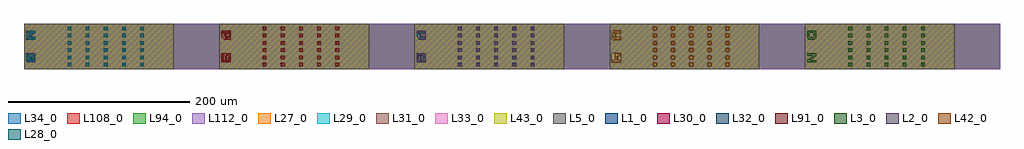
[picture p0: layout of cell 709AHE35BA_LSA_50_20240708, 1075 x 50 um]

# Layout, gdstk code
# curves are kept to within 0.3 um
from math import pi, radians
import gdstk
lib = gdstk.Library(unit=1e-6, precision=1e-09)
def R(c, l, rs):  # rectangles x0, y0, x1, y1
    for r in rs: c.add(gdstk.rectangle(r[:2], r[2:], *l))
def A(c, l, x, y, w, h, nx, ny, dx, dy):  # array of equal rectangles
    R(c, l, [(x+i*dx, y+j*dy, x+i*dx+w, y+j*dy+h) for i in range(nx) for j in range(ny)])
def P(c, l, *ps):  # polygons
    for p in ps: c.add(gdstk.Polygon(p, *l))
L1_0 = (1, 0)
L2_0 = (2, 0)
L3_0 = (3, 0)
L5_0 = (5, 0)
L27_0 = (27, 0)
L28_0 = (28, 0)
L29_0 = (29, 0)
L30_0 = (30, 0)
L31_0 = (31, 0)
L32_0 = (32, 0)
L33_0 = (33, 0)
L34_0 = (34, 0)
L42_0 = (42, 0)
L43_0 = (43, 0)
L91_0 = (91, 0)
L94_0 = (94, 0)
L108_0 = (108, 0)
L112_0 = (112, 0)

lsa_150_50_4_0_4_0_5_6_t = lib.new_cell('LSA_150_50_4_0_4_0_5_6_T_1_T')
A(lsa_150_50_4_0_4_0_5_6_t, L1_0, 48, 3, 4, 4, 5, 6, 20, 8)
R(lsa_150_50_4_0_4_0_5_6_t, L5_0, [(15,0,165,50)])
R(lsa_150_50_4_0_4_0_5_6_t, L27_0, [(15,0,165,50)])
R(lsa_150_50_4_0_4_0_5_6_t, L29_0, [(15,0,165,50)])
R(lsa_150_50_4_0_4_0_5_6_t, L31_0, [(15,0,165,50)])
R(lsa_150_50_4_0_4_0_5_6_t, L33_0, [(15,0,165,50)])
R(lsa_150_50_4_0_4_0_5_6_t, L34_0, [(15,0,215,50)])
R(lsa_150_50_4_0_4_0_5_6_t, L43_0, [(15,0,165,50)])
R(lsa_150_50_4_0_4_0_5_6_t, L94_0, [(15,0,215,50)])
R(lsa_150_50_4_0_4_0_5_6_t, L108_0, [(15,0,215,50)])
R(lsa_150_50_4_0_4_0_5_6_t, L112_0, [(15,0,215,50)])

c_lsa_150_50_4_0_4_0_5_6_t = lib.new_cell('LSA_150_50_4_0_4_0_5_6_T_1_name')
P(c_lsa_150_50_4_0_4_0_5_6_t, L1_0, [(10,8.5),(15,2.5),(17.5,2.5),(17.5,12.5),(15,12.5),(15,6.5),(10,12.5),(7.5,12.5),(7.5,2.5),(10,2.5)],
  [(41.5,2.5),(42.5,3.5),(42.5,6.5),(41.5,7.5),(42.5,8.5),(42.5,11.5),(41.5,12.5),(32.5,12.5),(32.5,8.5),(35,8.5),(35,10.5),(40,10.5),(40,8.5),(32.5,8.5),(32.5,4.5),(35,4.5),(35,6.5),(40,6.5),(40,4.5),(32.5,4.5),(32.5,2.5)])
R(c_lsa_150_50_4_0_4_0_5_6_t, L5_0, [(0,0,50,15)])
R(c_lsa_150_50_4_0_4_0_5_6_t, L27_0, [(0,0,50,15)])
R(c_lsa_150_50_4_0_4_0_5_6_t, L29_0, [(0,0,50,15)])
R(c_lsa_150_50_4_0_4_0_5_6_t, L31_0, [(0,0,50,15)])
R(c_lsa_150_50_4_0_4_0_5_6_t, L33_0, [(0,0,50,15)])
R(c_lsa_150_50_4_0_4_0_5_6_t, L34_0, [(0,0,50,15)])
R(c_lsa_150_50_4_0_4_0_5_6_t, L43_0, [(0,0,50,15)])
R(c_lsa_150_50_4_0_4_0_5_6_t, L94_0, [(0,0,50,15)])
R(c_lsa_150_50_4_0_4_0_5_6_t, L108_0, [(0,0,50,15)])
R(c_lsa_150_50_4_0_4_0_5_6_t, L112_0, [(0,0,50,15)])

c_lsa_150_50_4_0_4_0_5_6_t_ = lib.new_cell('LSA_150_50_4_0_4_0_5_6_T_28_T')
R(c_lsa_150_50_4_0_4_0_5_6_t_, L5_0, [(15,0,165,50)])
R(c_lsa_150_50_4_0_4_0_5_6_t_, L27_0, [(15,0,165,50)])
A(c_lsa_150_50_4_0_4_0_5_6_t_, L28_0, 48, 3, 4, 4, 5, 6, 20, 8)
R(c_lsa_150_50_4_0_4_0_5_6_t_, L29_0, [(15,0,165,50)])
R(c_lsa_150_50_4_0_4_0_5_6_t_, L31_0, [(15,0,165,50)])
R(c_lsa_150_50_4_0_4_0_5_6_t_, L33_0, [(15,0,165,50)])
R(c_lsa_150_50_4_0_4_0_5_6_t_, L34_0, [(15,0,215,50)])
R(c_lsa_150_50_4_0_4_0_5_6_t_, L43_0, [(15,0,165,50)])
R(c_lsa_150_50_4_0_4_0_5_6_t_, L94_0, [(15,0,215,50)])
R(c_lsa_150_50_4_0_4_0_5_6_t_, L108_0, [(15,0,215,50)])
R(c_lsa_150_50_4_0_4_0_5_6_t_, L112_0, [(15,0,215,50)])

c_lsa_150_50_4_0_4_0_5_6_t__ = lib.new_cell('LSA_150_50_4_0_4_0_5_6_T_28_name')
R(c_lsa_150_50_4_0_4_0_5_6_t__, L5_0, [(0,0,50,15)])
R(c_lsa_150_50_4_0_4_0_5_6_t__, L27_0, [(0,0,50,15)])
P(c_lsa_150_50_4_0_4_0_5_6_t__, L28_0, [(17.5,5.5),(17.5,12.5),(14.5,12.5),(14.5,6.5),(10.5,6.5),(10.5,12.5),(7.5,12.5),(7.5,5.5),(11.5,2.5),(13.5,2.5)],
  [(41.5,5),(39.5,5),(39.5,12.5),(36.5,12.5),(36.5,11.5),(34.5,11.5),(34.5,9.5),(36.5,9.5),(36.5,5),(33.5,5),(33.5,2.5),(41.5,2.5)])
R(c_lsa_150_50_4_0_4_0_5_6_t__, L29_0, [(0,0,50,15)])
R(c_lsa_150_50_4_0_4_0_5_6_t__, L31_0, [(0,0,50,15)])
R(c_lsa_150_50_4_0_4_0_5_6_t__, L33_0, [(0,0,50,15)])
R(c_lsa_150_50_4_0_4_0_5_6_t__, L34_0, [(0,0,50,15)])
R(c_lsa_150_50_4_0_4_0_5_6_t__, L43_0, [(0,0,50,15)])
R(c_lsa_150_50_4_0_4_0_5_6_t__, L94_0, [(0,0,50,15)])
R(c_lsa_150_50_4_0_4_0_5_6_t__, L108_0, [(0,0,50,15)])
R(c_lsa_150_50_4_0_4_0_5_6_t__, L112_0, [(0,0,50,15)])

c_lsa_150_50_4_0_4_0_5_6_t___ = lib.new_cell('LSA_150_50_4_0_4_0_5_6_T_91_T')
R(c_lsa_150_50_4_0_4_0_5_6_t___, L5_0, [(15,0,165,50)])
R(c_lsa_150_50_4_0_4_0_5_6_t___, L29_0, [(15,0,165,50)])
R(c_lsa_150_50_4_0_4_0_5_6_t___, L31_0, [(15,0,165,50)])
R(c_lsa_150_50_4_0_4_0_5_6_t___, L34_0, [(15,0,215,50)])
R(c_lsa_150_50_4_0_4_0_5_6_t___, L43_0, [(15,0,165,50)])
A(c_lsa_150_50_4_0_4_0_5_6_t___, L91_0, 48, 3, 4, 4, 5, 6, 20, 8)
R(c_lsa_150_50_4_0_4_0_5_6_t___, L94_0, [(15,0,215,50)])
R(c_lsa_150_50_4_0_4_0_5_6_t___, L108_0, [(15,0,215,50)])
R(c_lsa_150_50_4_0_4_0_5_6_t___, L112_0, [(15,0,215,50)])

c_lsa_150_50_4_0_4_0_5_6_t____ = lib.new_cell('LSA_150_50_4_0_4_0_5_6_T_91_name')
R(c_lsa_150_50_4_0_4_0_5_6_t____, L5_0, [(0,0,50,15)])
R(c_lsa_150_50_4_0_4_0_5_6_t____, L29_0, [(0,0,50,15)])
R(c_lsa_150_50_4_0_4_0_5_6_t____, L31_0, [(0,0,50,15)])
R(c_lsa_150_50_4_0_4_0_5_6_t____, L34_0, [(0,0,50,15)])
R(c_lsa_150_50_4_0_4_0_5_6_t____, L43_0, [(0,0,50,15)])
P(c_lsa_150_50_4_0_4_0_5_6_t____, L91_0, [(10.5,2.5),(10.5,6.5),(17.5,6.5),(17.5,12.5),(7.5,12.5),(7.5,9),(10.5,9),(10.5,10),(15,10),(15,9),(10.5,9),(7.5,9),(7.5,2.5)],
  [(41.5,2.5),(42.5,3.5),(42.5,6.5),(41.5,7.5),(42.5,8.5),(42.5,11.5),(41.5,12.5),(32.5,12.5),(32.5,8.5),(35,8.5),(35,10.5),(40,10.5),(40,8.5),(32.5,8.5),(32.5,4.5),(35,4.5),(35,6.5),(40,6.5),(40,4.5),(32.5,4.5),(32.5,2.5)])
R(c_lsa_150_50_4_0_4_0_5_6_t____, L94_0, [(0,0,50,15)])
R(c_lsa_150_50_4_0_4_0_5_6_t____, L108_0, [(0,0,50,15)])
R(c_lsa_150_50_4_0_4_0_5_6_t____, L112_0, [(0,0,50,15)])

c_lsa_150_50_4_0_4_0_5_6_t_____ = lib.new_cell('LSA_150_50_4_0_4_0_5_6_T_30_T')
R(c_lsa_150_50_4_0_4_0_5_6_t_____, L5_0, [(15,0,165,50)])
R(c_lsa_150_50_4_0_4_0_5_6_t_____, L27_0, [(15,0,165,50)])
R(c_lsa_150_50_4_0_4_0_5_6_t_____, L29_0, [(15,0,165,50)])
A(c_lsa_150_50_4_0_4_0_5_6_t_____, L30_0, 48, 3, 4, 4, 5, 6, 20, 8)
R(c_lsa_150_50_4_0_4_0_5_6_t_____, L31_0, [(15,0,165,50)])
R(c_lsa_150_50_4_0_4_0_5_6_t_____, L33_0, [(15,0,165,50)])
R(c_lsa_150_50_4_0_4_0_5_6_t_____, L34_0, [(15,0,215,50)])
R(c_lsa_150_50_4_0_4_0_5_6_t_____, L43_0, [(15,0,165,50)])
R(c_lsa_150_50_4_0_4_0_5_6_t_____, L94_0, [(15,0,215,50)])
R(c_lsa_150_50_4_0_4_0_5_6_t_____, L108_0, [(15,0,215,50)])
R(c_lsa_150_50_4_0_4_0_5_6_t_____, L112_0, [(15,0,215,50)])

c_lsa_150_50_4_0_4_0_5_6_t______ = lib.new_cell('LSA_150_50_4_0_4_0_5_6_T_30_name')
R(c_lsa_150_50_4_0_4_0_5_6_t______, L5_0, [(0,0,50,15)])
R(c_lsa_150_50_4_0_4_0_5_6_t______, L27_0, [(0,0,50,15)])
R(c_lsa_150_50_4_0_4_0_5_6_t______, L29_0, [(0,0,50,15)])
P(c_lsa_150_50_4_0_4_0_5_6_t______, L30_0, [(17.5,5.5),(17.5,12.5),(14.5,12.5),(14.5,6.5),(10.5,6.5),(10.5,12.5),(7.5,12.5),(7.5,5.5),(11.5,2.5),(13.5,2.5)],
  [(42.5,5),(35.5,5),(35.5,6.3),(42.5,6.3),(42.5,12.5),(32.5,12.5),(32.5,10),(39.5,10),(39.5,8.8),(32.5,8.8),(32.5,2.5),(42.5,2.5)])
R(c_lsa_150_50_4_0_4_0_5_6_t______, L31_0, [(0,0,50,15)])
R(c_lsa_150_50_4_0_4_0_5_6_t______, L33_0, [(0,0,50,15)])
R(c_lsa_150_50_4_0_4_0_5_6_t______, L34_0, [(0,0,50,15)])
R(c_lsa_150_50_4_0_4_0_5_6_t______, L43_0, [(0,0,50,15)])
R(c_lsa_150_50_4_0_4_0_5_6_t______, L94_0, [(0,0,50,15)])
R(c_lsa_150_50_4_0_4_0_5_6_t______, L108_0, [(0,0,50,15)])
R(c_lsa_150_50_4_0_4_0_5_6_t______, L112_0, [(0,0,50,15)])

c_lsa_150_50_4_0_4_0_5_6_t_______ = lib.new_cell('LSA_150_50_4_0_4_0_5_6_T_2_T')
A(c_lsa_150_50_4_0_4_0_5_6_t_______, L2_0, 48, 3, 4, 4, 5, 6, 20, 8)
R(c_lsa_150_50_4_0_4_0_5_6_t_______, L5_0, [(15,0,165,50)])
R(c_lsa_150_50_4_0_4_0_5_6_t_______, L27_0, [(15,0,165,50)])
R(c_lsa_150_50_4_0_4_0_5_6_t_______, L31_0, [(15,0,165,50)])
R(c_lsa_150_50_4_0_4_0_5_6_t_______, L33_0, [(15,0,165,50)])
R(c_lsa_150_50_4_0_4_0_5_6_t_______, L34_0, [(15,0,215,50)])
R(c_lsa_150_50_4_0_4_0_5_6_t_______, L94_0, [(15,0,215,50)])
R(c_lsa_150_50_4_0_4_0_5_6_t_______, L108_0, [(15,0,215,50)])
R(c_lsa_150_50_4_0_4_0_5_6_t_______, L112_0, [(15,0,215,50)])

c_lsa_150_50_4_0_4_0_5_6_t________ = lib.new_cell('LSA_150_50_4_0_4_0_5_6_T_2_name')
P(c_lsa_150_50_4_0_4_0_5_6_t________, L2_0, [(10.5,2.5),(10.5,6.5),(17.5,6.5),(17.5,12.5),(7.5,12.5),(7.5,9),(10.5,9),(10.5,10),(15,10),(15,9),(10.5,9),(7.5,9),(7.5,2.5)],
  [(40.5,2.5),(42.5,4.5),(42.5,10.5),(40.5,12.5),(32.5,12.5),(32.5,5),(35,5),(35,10),(39,10),(40,9),(40,6),(39,5),(32.5,5),(32.5,2.5)])
R(c_lsa_150_50_4_0_4_0_5_6_t________, L5_0, [(0,0,50,15)])
R(c_lsa_150_50_4_0_4_0_5_6_t________, L27_0, [(0,0,50,15)])
R(c_lsa_150_50_4_0_4_0_5_6_t________, L31_0, [(0,0,50,15)])
R(c_lsa_150_50_4_0_4_0_5_6_t________, L33_0, [(0,0,50,15)])
R(c_lsa_150_50_4_0_4_0_5_6_t________, L34_0, [(0,0,50,15)])
R(c_lsa_150_50_4_0_4_0_5_6_t________, L94_0, [(0,0,50,15)])
R(c_lsa_150_50_4_0_4_0_5_6_t________, L108_0, [(0,0,50,15)])
R(c_lsa_150_50_4_0_4_0_5_6_t________, L112_0, [(0,0,50,15)])

c_lsa_150_50_4_0_4_0_5_6_t_________ = lib.new_cell('LSA_150_50_4_0_4_0_5_6_T_32_T')
R(c_lsa_150_50_4_0_4_0_5_6_t_________, L5_0, [(15,0,165,50)])
R(c_lsa_150_50_4_0_4_0_5_6_t_________, L27_0, [(15,0,165,50)])
R(c_lsa_150_50_4_0_4_0_5_6_t_________, L29_0, [(15,0,165,50)])
R(c_lsa_150_50_4_0_4_0_5_6_t_________, L31_0, [(15,0,165,50)])
A(c_lsa_150_50_4_0_4_0_5_6_t_________, L32_0, 48, 3, 4, 4, 5, 6, 20, 8)
R(c_lsa_150_50_4_0_4_0_5_6_t_________, L33_0, [(15,0,165,50)])
R(c_lsa_150_50_4_0_4_0_5_6_t_________, L34_0, [(15,0,215,50)])
R(c_lsa_150_50_4_0_4_0_5_6_t_________, L43_0, [(15,0,165,50)])
R(c_lsa_150_50_4_0_4_0_5_6_t_________, L94_0, [(15,0,215,50)])
R(c_lsa_150_50_4_0_4_0_5_6_t_________, L108_0, [(15,0,215,50)])
R(c_lsa_150_50_4_0_4_0_5_6_t_________, L112_0, [(15,0,215,50)])

c_lsa_150_50_4_0_4_0_5_6_t__________ = lib.new_cell('LSA_150_50_4_0_4_0_5_6_T_32_name')
R(c_lsa_150_50_4_0_4_0_5_6_t__________, L5_0, [(0,0,50,15)])
R(c_lsa_150_50_4_0_4_0_5_6_t__________, L27_0, [(0,0,50,15)])
R(c_lsa_150_50_4_0_4_0_5_6_t__________, L29_0, [(0,0,50,15)])
R(c_lsa_150_50_4_0_4_0_5_6_t__________, L31_0, [(0,0,50,15)])
P(c_lsa_150_50_4_0_4_0_5_6_t__________, L32_0, [(17.5,5.5),(17.5,12.5),(14.5,12.5),(14.5,6.5),(10.5,6.5),(10.5,12.5),(7.5,12.5),(7.5,5.5),(11.5,2.5),(13.5,2.5)],
  [(42.5,12.5),(32.5,12.5),(32.5,10),(39.5,10),(39.5,8.8),(32.5,8.8),(32.5,6.3),(39.5,6.3),(39.5,5),(32.5,5),(32.5,2.5),(42.5,2.5)])
R(c_lsa_150_50_4_0_4_0_5_6_t__________, L33_0, [(0,0,50,15)])
R(c_lsa_150_50_4_0_4_0_5_6_t__________, L34_0, [(0,0,50,15)])
R(c_lsa_150_50_4_0_4_0_5_6_t__________, L43_0, [(0,0,50,15)])
R(c_lsa_150_50_4_0_4_0_5_6_t__________, L94_0, [(0,0,50,15)])
R(c_lsa_150_50_4_0_4_0_5_6_t__________, L108_0, [(0,0,50,15)])
R(c_lsa_150_50_4_0_4_0_5_6_t__________, L112_0, [(0,0,50,15)])

lsa_150_50_4_0_4_0_5_6_m = lib.new_cell('LSA_150_50_4_0_4_0_5_6_M_5_M')
P(lsa_150_50_4_0_4_0_5_6_m, L5_0, [(165,50),(15,50),(15,43),(48,43),(48,47),(52,47),(52,43),(68,43),(68,47),(72,47),(72,43),(88,43),(88,47),(92,47),(92,43),(108,43),(108,47),(112,47),(112,43),(128,43),(128,47),(132,47),(132,43),(128,43),(112,43),(108,43),(92,43),(88,43),(72,43),(68,43),(52,43),(48,43),(15,43),(15,35),(48,35),(48,39),(52,39),(52,35),(68,35),(68,39),(72,39),(72,35),(88,35),(88,39),(92,39),(92,35),(108,35),(108,39),(112,39),(112,35),(128,35),(128,39),(132,39),(132,35),(128,35),(112,35),(108,35),(92,35),(88,35),(72,35),(68,35),(52,35),(48,35),(15,35),(15,27),(48,27),(48,31),(52,31),(52,27),(68,27),(68,31),(72,31),(72,27),(88,27),(88,31),(92,31),(92,27),(108,27),(108,31),(112,31),(112,27),(128,27),(128,31),(132,31),(132,27),(128,27),(112,27),(108,27),(92,27),(88,27),(72,27),(68,27),(52,27),(48,27),(15,27),(15,19),(48,19),(48,23),(52,23),(52,19),(68,19),(68,23),(72,23),(72,19),(88,19),(88,23),(92,23),(92,19),(108,19),(108,23),(112,23),(112,19),(128,19),(128,23),(132,23),(132,19),(128,19),(112,19),(108,19),(92,19),(88,19),(72,19),(68,19),(52,19),(48,19),(15,19),(15,11),(48,11),(48,15),(52,15),(52,11),(68,11),(68,15),(72,15),(72,11),(88,11),(88,15),(92,15),(92,11),(108,11),(108,15),(112,15),(112,11),(128,11),(128,15),(132,15),(132,11),(128,11),(112,11),(108,11),(92,11),(88,11),(72,11),(68,11),(52,11),(48,11),(15,11),(15,3),(48,3),(48,7),(52,7),(52,3),(68,3),(68,7),(72,7),(72,3),(88,3),(88,7),(92,7),(92,3),(108,3),(108,7),(112,7),(112,3),(128,3),(128,7),(132,7),(132,3),(128,3),(112,3),(108,3),(92,3),(88,3),(72,3),(68,3),(52,3),(48,3),(15,3),(15,0),(165,0)])
R(lsa_150_50_4_0_4_0_5_6_m, L27_0, [(15,0,165,50)])
R(lsa_150_50_4_0_4_0_5_6_m, L29_0, [(15,0,165,50)])
R(lsa_150_50_4_0_4_0_5_6_m, L33_0, [(15,0,165,50)])
R(lsa_150_50_4_0_4_0_5_6_m, L34_0, [(15,0,215,50)])
R(lsa_150_50_4_0_4_0_5_6_m, L43_0, [(15,0,165,50)])
R(lsa_150_50_4_0_4_0_5_6_m, L94_0, [(15,0,215,50)])
R(lsa_150_50_4_0_4_0_5_6_m, L108_0, [(15,0,215,50)])
R(lsa_150_50_4_0_4_0_5_6_m, L112_0, [(15,0,215,50)])

c_lsa_150_50_4_0_4_0_5_6_m = lib.new_cell('LSA_150_50_4_0_4_0_5_6_M_5_name')
R(c_lsa_150_50_4_0_4_0_5_6_m, L5_0, [(35.5,5.5,39.5,9.5)])
P(c_lsa_150_50_4_0_4_0_5_6_m, L5_0, [(50,15),(0,15),(0,2.5),(7.5,2.5),(7.5,12.5),(10,12.5),(12.5,10),(15,12.5),(17.5,12.5),(17.5,2.5),(32.5,2.5),(32.5,12.5),(42.5,12.5),(42.5,2.5),(15,2.5),(15,9),(12.5,6.5),(10,9),(10,2.5),(0,2.5),(0,0),(50,0)])
R(c_lsa_150_50_4_0_4_0_5_6_m, L27_0, [(0,0,50,15)])
R(c_lsa_150_50_4_0_4_0_5_6_m, L29_0, [(0,0,50,15)])
R(c_lsa_150_50_4_0_4_0_5_6_m, L33_0, [(0,0,50,15)])
R(c_lsa_150_50_4_0_4_0_5_6_m, L34_0, [(0,0,50,15)])
R(c_lsa_150_50_4_0_4_0_5_6_m, L43_0, [(0,0,50,15)])
R(c_lsa_150_50_4_0_4_0_5_6_m, L94_0, [(0,0,50,15)])
R(c_lsa_150_50_4_0_4_0_5_6_m, L108_0, [(0,0,50,15)])
R(c_lsa_150_50_4_0_4_0_5_6_m, L112_0, [(0,0,50,15)])

c_lsa_150_50_4_0_4_0_5_6_t___________ = lib.new_cell('LSA_150_50_4_0_4_0_5_6_T_42_T')
R(c_lsa_150_50_4_0_4_0_5_6_t___________, L27_0, [(15,0,165,50)])
R(c_lsa_150_50_4_0_4_0_5_6_t___________, L29_0, [(15,0,165,50)])
R(c_lsa_150_50_4_0_4_0_5_6_t___________, L31_0, [(15,0,165,50)])
R(c_lsa_150_50_4_0_4_0_5_6_t___________, L33_0, [(15,0,165,50)])
R(c_lsa_150_50_4_0_4_0_5_6_t___________, L34_0, [(15,0,215,50)])
A(c_lsa_150_50_4_0_4_0_5_6_t___________, L42_0, 48, 3, 4, 4, 5, 6, 20, 8)
R(c_lsa_150_50_4_0_4_0_5_6_t___________, L43_0, [(15,0,165,50)])
R(c_lsa_150_50_4_0_4_0_5_6_t___________, L94_0, [(15,0,215,50)])
R(c_lsa_150_50_4_0_4_0_5_6_t___________, L108_0, [(15,0,215,50)])
R(c_lsa_150_50_4_0_4_0_5_6_t___________, L112_0, [(15,0,215,50)])

c_lsa_150_50_4_0_4_0_5_6_t____________ = lib.new_cell('LSA_150_50_4_0_4_0_5_6_T_42_name')
R(c_lsa_150_50_4_0_4_0_5_6_t____________, L27_0, [(0,0,50,15)])
R(c_lsa_150_50_4_0_4_0_5_6_t____________, L29_0, [(0,0,50,15)])
R(c_lsa_150_50_4_0_4_0_5_6_t____________, L31_0, [(0,0,50,15)])
R(c_lsa_150_50_4_0_4_0_5_6_t____________, L33_0, [(0,0,50,15)])
R(c_lsa_150_50_4_0_4_0_5_6_t____________, L34_0, [(0,0,50,15)])
P(c_lsa_150_50_4_0_4_0_5_6_t____________, L42_0, [(17.5,5.5),(17.5,12.5),(14.5,12.5),(14.5,6.5),(10.5,6.5),(10.5,12.5),(7.5,12.5),(7.5,5.5),(11.5,2.5),(13.5,2.5)],
  [(42.5,12.5),(39.5,12.5),(39.5,8.5),(35.5,8.5),(35.5,12.5),(32.5,12.5),(32.5,5.5),(39.5,5.5),(39.5,2.5),(42.5,2.5)])
R(c_lsa_150_50_4_0_4_0_5_6_t____________, L43_0, [(0,0,50,15)])
R(c_lsa_150_50_4_0_4_0_5_6_t____________, L94_0, [(0,0,50,15)])
R(c_lsa_150_50_4_0_4_0_5_6_t____________, L108_0, [(0,0,50,15)])
R(c_lsa_150_50_4_0_4_0_5_6_t____________, L112_0, [(0,0,50,15)])

c_lsa_150_50_4_0_4_0_5_6_t_____________ = lib.new_cell('LSA_150_50_4_0_4_0_5_6_T_3_T')
A(c_lsa_150_50_4_0_4_0_5_6_t_____________, L3_0, 48, 3, 4, 4, 5, 6, 20, 8)
R(c_lsa_150_50_4_0_4_0_5_6_t_____________, L5_0, [(15,0,165,50)])
R(c_lsa_150_50_4_0_4_0_5_6_t_____________, L27_0, [(15,0,165,50)])
R(c_lsa_150_50_4_0_4_0_5_6_t_____________, L29_0, [(15,0,165,50)])
R(c_lsa_150_50_4_0_4_0_5_6_t_____________, L31_0, [(15,0,165,50)])
R(c_lsa_150_50_4_0_4_0_5_6_t_____________, L33_0, [(15,0,165,50)])
R(c_lsa_150_50_4_0_4_0_5_6_t_____________, L34_0, [(15,0,215,50)])
R(c_lsa_150_50_4_0_4_0_5_6_t_____________, L43_0, [(15,0,165,50)])
R(c_lsa_150_50_4_0_4_0_5_6_t_____________, L94_0, [(15,0,215,50)])
R(c_lsa_150_50_4_0_4_0_5_6_t_____________, L108_0, [(15,0,215,50)])
R(c_lsa_150_50_4_0_4_0_5_6_t_____________, L112_0, [(15,0,215,50)])

c_lsa_150_50_4_0_4_0_5_6_t______________ = lib.new_cell('LSA_150_50_4_0_4_0_5_6_T_3_name')
P(c_lsa_150_50_4_0_4_0_5_6_t______________, L3_0, [(15.5,2.5),(17.5,4.5),(17.5,10.5),(15.5,12.5),(7.5,12.5),(7.5,5),(10,5),(10,10),(14,10),(15,9),(15,6),(14,5),(7.5,5),(7.5,2.5)],
  [(35,8.5),(40,2.5),(42.5,2.5),(42.5,12.5),(40,12.5),(40,6.5),(35,12.5),(32.5,12.5),(32.5,2.5),(35,2.5)])
R(c_lsa_150_50_4_0_4_0_5_6_t______________, L5_0, [(0,0,50,15)])
R(c_lsa_150_50_4_0_4_0_5_6_t______________, L27_0, [(0,0,50,15)])
R(c_lsa_150_50_4_0_4_0_5_6_t______________, L29_0, [(0,0,50,15)])
R(c_lsa_150_50_4_0_4_0_5_6_t______________, L31_0, [(0,0,50,15)])
R(c_lsa_150_50_4_0_4_0_5_6_t______________, L33_0, [(0,0,50,15)])
R(c_lsa_150_50_4_0_4_0_5_6_t______________, L34_0, [(0,0,50,15)])
R(c_lsa_150_50_4_0_4_0_5_6_t______________, L43_0, [(0,0,50,15)])
R(c_lsa_150_50_4_0_4_0_5_6_t______________, L94_0, [(0,0,50,15)])
R(c_lsa_150_50_4_0_4_0_5_6_t______________, L108_0, [(0,0,50,15)])
R(c_lsa_150_50_4_0_4_0_5_6_t______________, L112_0, [(0,0,50,15)])

c_709ahe35ba_lsa_50_202407 = lib.new_cell('709AHE35BA_LSA_50_20240708')
c_709ahe35ba_lsa_50_202407.add(gdstk.Reference(lsa_150_50_4_0_4_0_5_6_t, (0,0)))
c_709ahe35ba_lsa_50_202407.add(gdstk.Reference(c_lsa_150_50_4_0_4_0_5_6_t, (0,50), rotation=3*pi/2))
c_709ahe35ba_lsa_50_202407.add(gdstk.Reference(c_lsa_150_50_4_0_4_0_5_6_t_, (0,0)))
c_709ahe35ba_lsa_50_202407.add(gdstk.Reference(c_lsa_150_50_4_0_4_0_5_6_t__, (0,50), rotation=3*pi/2))
c_709ahe35ba_lsa_50_202407.add(gdstk.Reference(c_lsa_150_50_4_0_4_0_5_6_t___, (215,0)))
c_709ahe35ba_lsa_50_202407.add(gdstk.Reference(c_lsa_150_50_4_0_4_0_5_6_t____, (215,50), rotation=3*pi/2))
c_709ahe35ba_lsa_50_202407.add(gdstk.Reference(c_lsa_150_50_4_0_4_0_5_6_t_____, (215,0)))
c_709ahe35ba_lsa_50_202407.add(gdstk.Reference(c_lsa_150_50_4_0_4_0_5_6_t______, (215,50), rotation=3*pi/2))
c_709ahe35ba_lsa_50_202407.add(gdstk.Reference(c_lsa_150_50_4_0_4_0_5_6_t_______, (430,0)))
c_709ahe35ba_lsa_50_202407.add(gdstk.Reference(c_lsa_150_50_4_0_4_0_5_6_t________, (430,50), rotation=3*pi/2))
c_709ahe35ba_lsa_50_202407.add(gdstk.Reference(c_lsa_150_50_4_0_4_0_5_6_t_________, (430,0)))
c_709ahe35ba_lsa_50_202407.add(gdstk.Reference(c_lsa_150_50_4_0_4_0_5_6_t__________, (430,50), rotation=3*pi/2))
c_709ahe35ba_lsa_50_202407.add(gdstk.Reference(lsa_150_50_4_0_4_0_5_6_m, (645,0)))
c_709ahe35ba_lsa_50_202407.add(gdstk.Reference(c_lsa_150_50_4_0_4_0_5_6_m, (645,50), rotation=3*pi/2))
c_709ahe35ba_lsa_50_202407.add(gdstk.Reference(c_lsa_150_50_4_0_4_0_5_6_t___________, (645,0)))
c_709ahe35ba_lsa_50_202407.add(gdstk.Reference(c_lsa_150_50_4_0_4_0_5_6_t____________, (645,50), rotation=3*pi/2))
c_709ahe35ba_lsa_50_202407.add(gdstk.Reference(c_lsa_150_50_4_0_4_0_5_6_t_____________, (860,0)))
c_709ahe35ba_lsa_50_202407.add(gdstk.Reference(c_lsa_150_50_4_0_4_0_5_6_t______________, (860,50), rotation=3*pi/2))

lib.write_gds('709AHE35BA_LSA_50_20240708.gds')
